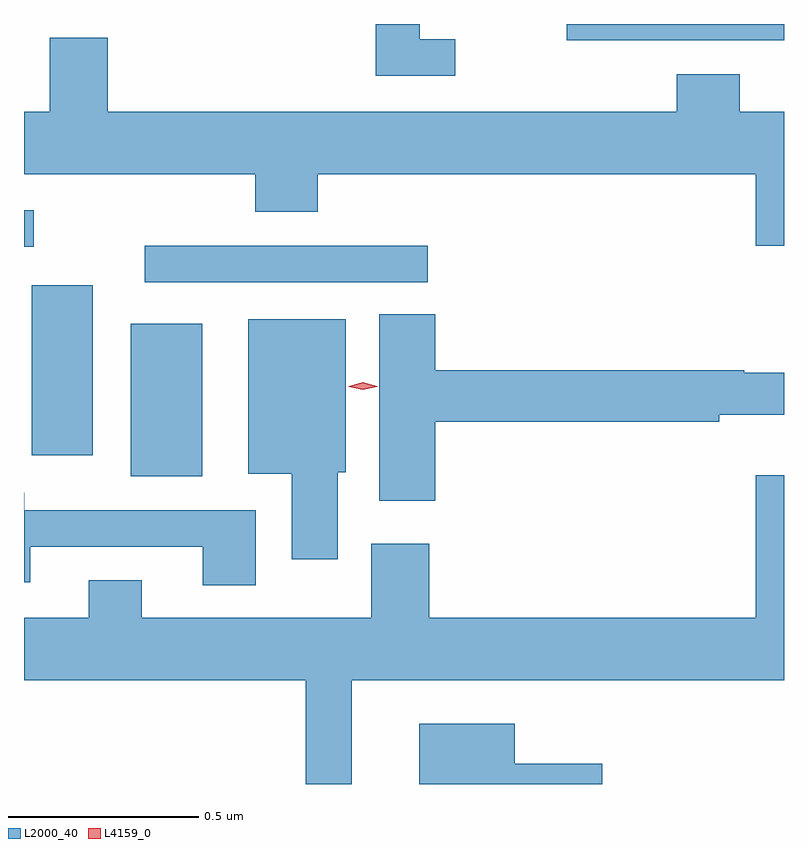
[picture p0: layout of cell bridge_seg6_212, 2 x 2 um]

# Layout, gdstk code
import gdstk
lib = gdstk.Library(unit=1e-6, precision=1e-09)
def R(c, l, rs):  # rectangles x0, y0, x1, y1
    for r in rs: c.add(gdstk.rectangle(r[:2], r[2:], *l))
def P(c, l, *ps):  # polygons
    for p in ps: c.add(gdstk.Polygon(p, *l))
L2000_40 = (2000, 40)
L4159_0 = (4159, 0)

bridge_seg6_212 = lib.new_cell('bridge_seg6_212')
R(bridge_seg6_212, L2000_40, [(139.388,965.189,139.576,965.59), (139.127,965.244,139.288,965.692), (139.425,965.7,140.17,965.796), (139.107,965.793,139.132,965.889), (140.535,966.336,141.107,966.379)])
P(bridge_seg6_212, L2000_40, [(140.242,966.339),(140.149,966.339),(140.149,966.379),(140.032,966.379),(140.032,966.243),(140.242,966.243)],
  [(141.107,966.148),(140.99,966.148),(140.99,966.247),(140.825,966.247),(140.825,966.148),(139.328,966.148),(139.328,966.343),(139.175,966.343),(139.175,966.148),(139.107,966.148),(139.107,965.984),(139.715,965.984),(139.715,965.885),(139.88,965.885),(139.88,965.984),(141.032,965.984),(141.032,965.796),(141.107,965.796)],
  [(140.189,965.332),(140.936,965.332),(140.936,965.351),(141.107,965.351),(141.107,965.461),(141.002,965.461),(141.002,965.468),(140.189,965.468),(140.189,965.615),(140.042,965.615),(140.042,965.124),(140.189,965.124)],
  [(139.933,965.199),(139.954,965.199),(139.954,965.602),(139.697,965.602),(139.697,965.195),(139.811,965.195),(139.811,964.971),(139.933,964.971)],
  [(139.969,964.652),(141.107,964.652),(141.107,965.191),(141.032,965.191),(141.032,964.816),(140.174,964.816),(140.174,965.011),(140.021,965.011),(140.021,964.816),(139.417,964.816),(139.417,964.915),(139.277,964.915),(139.277,964.816),(139.107,964.816),(139.107,964.652),(139.848,964.652),(139.848,964.379),(139.969,964.379)],
  [(139.717,965.1),(139.108,965.1),(139.108,965.146),(139.107,965.146),(139.107,964.91),(139.123,964.91),(139.123,965.004),(139.577,965.004),(139.577,964.902),(139.717,964.902)],
  [(140.629,964.432),(140.398,964.432),(140.398,964.537),(140.147,964.537),(140.147,964.379),(140.629,964.379)])
P(bridge_seg6_212, L4159_0, [(139.999,965.416),(139.961,965.425),(139.961,965.426),(139.961,965.426),(139.999,965.436),(140.036,965.426),(140.036,965.426),(140.036,965.425)])

lib.write_gds('bridge_seg6_212.gds')
